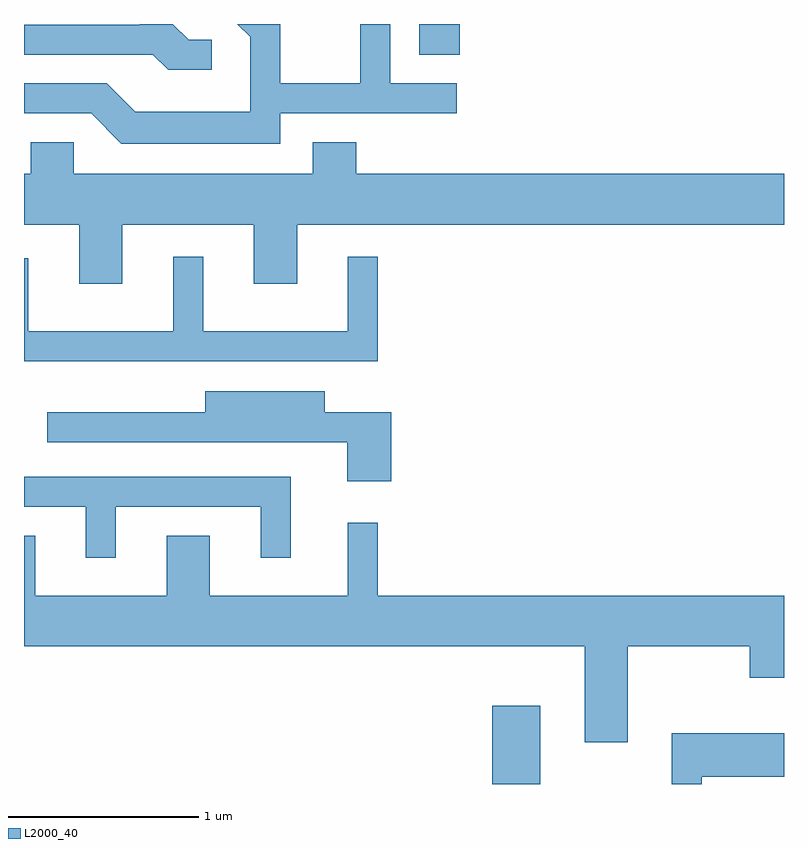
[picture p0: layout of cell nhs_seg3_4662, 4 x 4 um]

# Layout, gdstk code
import gdstk
lib = gdstk.Library(unit=1e-6, precision=1e-09)
def R(c, l, rs):  # rectangles x0, y0, x1, y1
    for r in rs: c.add(gdstk.rectangle(r[:2], r[2:], *l))
def P(c, l, *ps):  # polygons
    for p in ps: c.add(gdstk.Polygon(p, *l))
L2000_40 = (2000, 40)

nhs_seg3_4662 = lib.new_cell('nhs_seg3_4662')
R(nhs_seg3_4662, L2000_40, [(324.076,1191.892,324.329,1192.304), (323.691,1195.731,323.904,1195.892)])
P(nhs_seg3_4662, L2000_40, [(322.598,1195.809),(322.477,1195.809),(322.394,1195.892),(322.221,1195.892),(322.221,1195.889),(321.611,1195.889),(321.611,1195.731),(322.289,1195.731),(322.369,1195.651),(322.598,1195.651)],
  [(322.959,1195.421),(323.888,1195.421),(323.888,1195.579),(323.539,1195.579),(323.539,1195.892),(323.381,1195.892),(323.381,1195.579),(322.959,1195.579),(322.959,1195.892),(322.733,1195.892),(322.801,1195.824),(322.801,1195.429),(322.197,1195.429),(322.047,1195.579),(321.611,1195.579),(321.611,1195.421),(321.964,1195.421),(322.124,1195.261),(322.959,1195.261)],
  [(322.129,1194.836),(322.821,1194.836),(322.821,1194.526),(323.049,1194.526),(323.049,1194.836),(325.611,1194.836),(325.611,1195.104),(323.359,1195.104),(323.359,1195.269),(323.131,1195.269),(323.131,1195.104),(321.874,1195.104),(321.874,1195.269),(321.646,1195.269),(321.646,1195.104),(321.611,1195.104),(321.611,1194.836),(321.901,1194.836),(321.901,1194.526),(322.129,1194.526)],
  [(323.474,1194.668),(323.316,1194.668),(323.316,1194.274),(322.554,1194.274),(322.554,1194.668),(322.396,1194.668),(322.396,1194.274),(321.634,1194.274),(321.634,1194.659),(321.611,1194.659),(321.611,1194.116),(323.474,1194.116)],
  [(323.544,1193.849),(323.194,1193.849),(323.194,1193.959),(322.566,1193.959),(322.566,1193.849),(321.733,1193.849),(321.733,1193.691),(323.311,1193.691),(323.311,1193.486),(323.544,1193.486)],
  [(322.094,1193.351),(322.856,1193.351),(322.856,1193.083),(323.014,1193.083),(323.014,1193.509),(321.611,1193.509),(321.611,1193.351),(321.936,1193.351),(321.936,1193.083),(322.094,1193.083)],
  [(324.789,1192.616),(325.431,1192.616),(325.431,1192.451),(325.611,1192.451),(325.611,1192.884),(323.474,1192.884),(323.474,1193.268),(323.316,1193.268),(323.316,1192.884),(322.589,1192.884),(322.589,1193.199),(322.361,1193.199),(322.361,1192.884),(321.669,1192.884),(321.669,1193.199),(321.611,1193.199),(321.611,1192.616),(324.561,1192.616),(324.561,1192.111),(324.789,1192.111)],
  [(325.179,1191.931),(325.611,1191.931),(325.611,1192.159),(325.021,1192.159),(325.021,1191.892),(325.179,1191.892)])

lib.write_gds('nhs_seg3_4662.gds')
